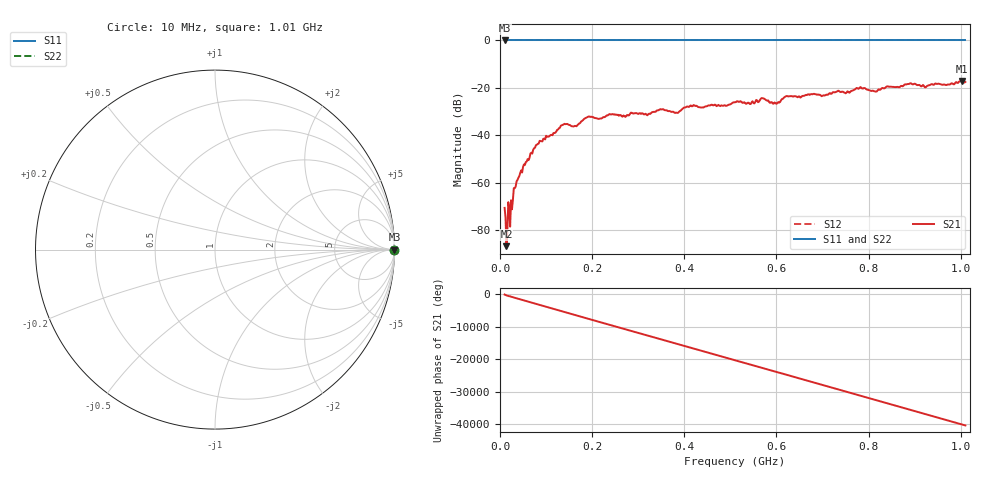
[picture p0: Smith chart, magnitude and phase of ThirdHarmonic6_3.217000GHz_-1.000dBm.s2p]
! 8/17/2025 9:48:47 AM
! C:\ANRITSUVNA\TEMP\TEMP.S2P
! CHANNEL.1
! TR.MEASUREMENT
! RAW.DATA
! RF.CORRECTION.OFF
! AVERAGING.OFF
! IF.BANDWIDTH: 5KHZ
! SWEEPTYPE:  FREQ.SWEEP(Linear)
! Reference Plane Port Info
! PORT:  PORT1  PORT2
! DISTANCE:  0  m  0  m
! TIME:  0  s  0  s
! PHASE.OFFSET:  0  deg.  0  deg.
! LOSS:  0  dB  0  dB
! REF.LOSS:  0  dB  0  dB
! REF.FREQ:  0  Hz  0  Hz
! Power Info
! POWER:  -20  dBm  -20  dBm
! EFF.POWER:  -20  dBm  -20  dBm
! SOURCE.ATTEN:  0  dB  0  dB
! TEST.ATTEN:  0  dB  0  dB
# GHZ S RI R 50.0
! FREQ.GHZ  S11RE  S11IM  S21RE  S21IM  S12RE  S12IM  S22RE  S22IM
!; PortSelection: Port_12
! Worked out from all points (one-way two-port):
!   501 points, 10 MHz to 1.01 GHz, reference 50 ohm
!   highest |S21| = -17.01 dB at 1.002 GHz (marker M1); lowest = -86.6 dB at 14 MHz (marker M2)
!   lowest |S11| = 0.0 dB at 10 MHz (marker M3)
!   |S11| at or under -10 dB: nowhere
!   |S22| runs from 0.0 to 0.0 dB; largest |S21 - S12| = 1.1
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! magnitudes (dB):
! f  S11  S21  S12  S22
! 10 MHz  0.0  -70.5  0.0  0.0
! 14 MHz  0.0  -86.6  0.0  0.0
! 18 MHz  0.0  -68.1  0.0  0.0
! 34 MHz  0.0  -61.6  0.0  0.0
! 40 MHz  0.0  -57.8  0.0  0.0
! 76 MHz  0.0  -45.2  0.0  0.0
! 136 MHz  0.0  -35.6  0.0  0.0
! 162 MHz  0.0  -36.0  0.0  0.0
! 178 MHz  0.0  -33.9  0.0  0.0
! 344 MHz  0.0  -29.4  0.0  0.0
! 384 MHz  0.0  -30.5  0.0  0.0
! 416 MHz  0.0  -27.7  0.0  0.0
! 510 MHz  0.0  -26.0  0.0  0.0
! 570 MHz  0.0  -24.3  0.0  0.0
! 596 MHz  0.0  -26.1  0.0  0.0
! 622 MHz  0.0  -23.4  0.0  0.0
! 678 MHz  0.0  -22.7  0.0  0.0
! 780 MHz  0.0  -20.1  0.0  0.0
! 814 MHz  0.0  -21.5  0.0  0.0
! 844 MHz  0.0  -19.5  0.0  0.0
! 1.002 GHz  0.0  -17.0  0.0  0.0
! 1.01 GHz  0.0  -17.5  0.0  0.0
